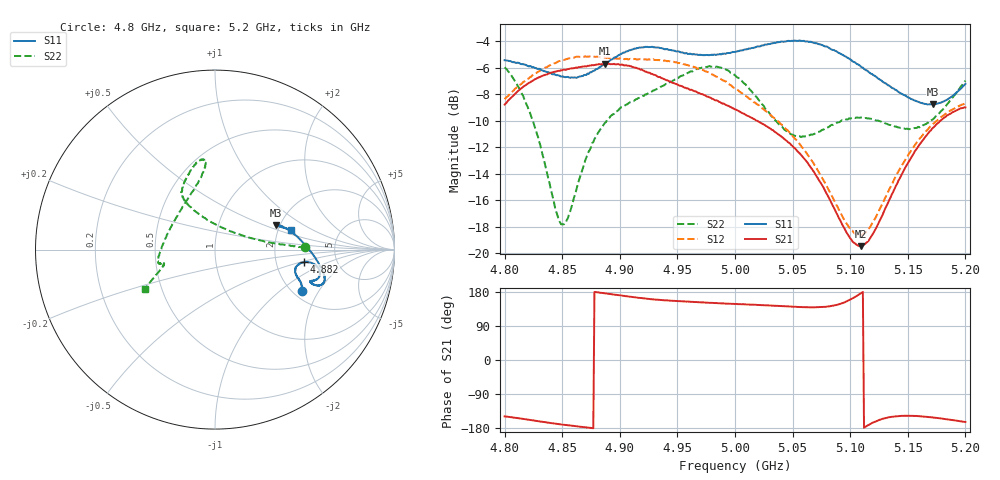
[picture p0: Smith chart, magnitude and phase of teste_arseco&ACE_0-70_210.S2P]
! Network Analyzer HP8722D
! Hewlett-Packard
! Data name: Linha & Wilkinson
! Saver's name: Rodrigo Anjos
! Comments: Teste da utilização de aquisição
! continua pelo VNA HP8722D
! Time and date: 8/5/2025 14:30
!  Frequency  S11  S21  S12  S22
# HZ  S  MA R 50
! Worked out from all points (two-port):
!   401 points, 4.8 GHz to 5.2 GHz, reference 50 ohm
!   highest |S21| = -5.68 dB at 4.887 GHz (marker M1); lowest = -19.5 dB at 5.109 GHz (marker M2)
!   |S21| within 3 dB of the highest: 4.801 GHz to 4.989 GHz (187.4 MHz wide, 3.83 % of centre)
!   lowest |S11| = -8.8 dB at 5.172 GHz (marker M3), VSWR 2.15, Z = 94.7 + j30 ohm
!   |S11| at or under -10 dB: nowhere
!   |S22| runs from -17.8 to -5.9 dB; largest |S21 - S12| = 1.1
!   S11 on the Smith chart (normalised r, x): 4.8 GHz: 2.23, -1.44; 4.882 GHz: 2.91, -0.53; 5.2 GHz: 2.33, +0.64
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4.8e9  0.5352 -25.5  0.364 -148.8  0.3816 10.5  0.5032 1.5
4.812e9  0.5234 -22.3  0.4106 -153.6  0.4275 8.9  0.4245 2.7
4.823e9  0.5076 -20.4  0.4445 -158.7  0.4639 7.4  0.329 6.3
4.849e9  0.4645 -16.0  0.4904 -169.9  0.5336 3.2  0.1286 58.7
4.855e9  0.4632 -14.2  0.4956 -172.4  0.5425 2.1  0.1359 84.8
4.867e9  0.4659 -11.0  0.5057 -176.5  0.5518 0.6  0.2029 112.4
4.882e9  0.5027 -7.8  0.518 178.1  0.5511 -0.7  0.2883 120.8
4.887e9  0.5182 -7.8  0.5202 176.1  0.5483 -0.8  0.3102 121.5
4.911e9  0.5876 -10.6  0.5046 166.2  0.5402 -0.2  0.3745 119.4
4.934e9  0.5971 -15.4  0.4621 158.8  0.5365 -1.4  0.42 113.0
4.976e9  0.5603 -18.5  0.3897 151.4  0.4834 -5.1  0.5049 99.0
5e9  0.5754 -19.2  0.3491 147.8  0.4199 -5.1  0.4696 96.8
5.018e9  0.5992 -19.4  0.3177 145.8  0.3685 -2.5  0.3914 103.5
5.044e9  0.6299 -17.5  0.2675 141.6  0.295 3.0  0.2907 131.3
5.067e9  0.6253 -13.3  0.2074 139.0  0.223 9.5  0.28 164.3
5.098e9  0.5463 -2.7  0.1175 156.3  0.1274 37.1  0.3201 -170.5
5.109e9  0.5079 2.3  0.1064 175.7  0.1171 58.8  0.3251 -167.4
5.118e9  0.476 6.8  0.1151 -168.0  0.1272 76.3  0.3218 -166.2
5.134e9  0.4289 14.6  0.1592 -150.8  0.1747 94.7  0.3051 -165.6
5.153e9  0.3817 20.8  0.2298 -147.3  0.245 101.6  0.2944 -164.2
5.172e9  0.3643 22.1  0.2977 -151.7  0.308 102.6  0.3208 -159.9
5.2e9  0.4357 14.8  0.3552 -163.5  0.3689 103.0  0.4486 -150.6
